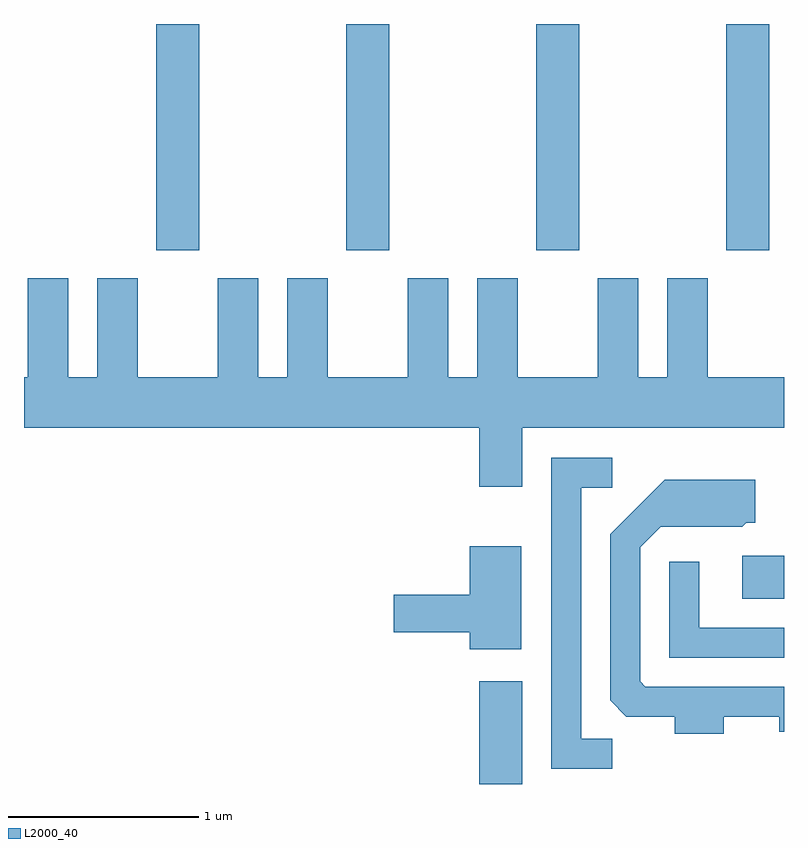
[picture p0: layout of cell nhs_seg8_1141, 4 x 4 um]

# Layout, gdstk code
import gdstk
lib = gdstk.Library(unit=1e-6, precision=1e-09)
def R(c, l, rs):  # rectangles x0, y0, x1, y1
    for r in rs: c.add(gdstk.rectangle(r[:2], r[2:], *l))
def A(c, l, x, y, w, h, nx, ny, dx, dy):  # array of equal rectangles
    R(c, l, [(x+i*dx, y+j*dy, x+i*dx+w, y+j*dy+h) for i in range(nx) for j in range(ny)])
def P(c, l, *ps):  # polygons
    for p in ps: c.add(gdstk.Polygon(p, *l))
L2000_40 = (2000, 40)

nhs_seg8_1141 = lib.new_cell('nhs_seg8_1141')
A(nhs_seg8_1141, L2000_40, 220.306, 1815.151, 0.228, 1.191, 4, 1, 1, 0)
R(nhs_seg8_1141, L2000_40, [(222.006,1812.342,222.234,1812.884), (223.391,1813.316,223.611,1813.544)])
P(nhs_seg8_1141, L2000_40, [(222.234,1814.216),(223.611,1814.216),(223.611,1814.484),(223.209,1814.484),(223.209,1815.004),(222.996,1815.004),(222.996,1814.484),(222.844,1814.484),(222.844,1815.004),(222.631,1815.004),(222.631,1814.484),(222.209,1814.484),(222.209,1815.004),(221.996,1815.004),(221.996,1814.484),(221.844,1814.484),(221.844,1815.004),(221.631,1815.004),(221.631,1814.484),(221.209,1814.484),(221.209,1815.004),(220.996,1815.004),(220.996,1814.484),(220.844,1814.484),(220.844,1815.004),(220.631,1815.004),(220.631,1814.484),(220.209,1814.484),(220.209,1815.004),(219.996,1815.004),(219.996,1814.484),(219.844,1814.484),(219.844,1815.004),(219.631,1815.004),(219.631,1814.484),(219.611,1814.484),(219.611,1814.216),(222.006,1814.216),(222.006,1813.906),(222.234,1813.906)],
  [(222.708,1812.579),(222.544,1812.579),(222.544,1813.901),(222.708,1813.901),(222.708,1814.059),(222.386,1814.059),(222.386,1812.421),(222.708,1812.421)],
  [(223.294,1812.696),(223.586,1812.696),(223.586,1812.618),(223.611,1812.618),(223.611,1812.854),(222.882,1812.854),(222.854,1812.882),(222.854,1813.589),(222.962,1813.696),(223.392,1813.696),(223.412,1813.716),(223.459,1813.716),(223.459,1813.944),(222.984,1813.944),(222.696,1813.657),(222.696,1812.782),(222.782,1812.696),(223.036,1812.696),(223.036,1812.606),(223.294,1812.606)],
  [(222.229,1813.594),(221.956,1813.594),(221.956,1813.339),(221.556,1813.339),(221.556,1813.141),(221.956,1813.141),(221.956,1813.051),(222.229,1813.051)],
  [(223.611,1813.164),(223.164,1813.164),(223.164,1813.513),(223.006,1813.513),(223.006,1813.006),(223.611,1813.006)])

lib.write_gds('nhs_seg8_1141.gds')
